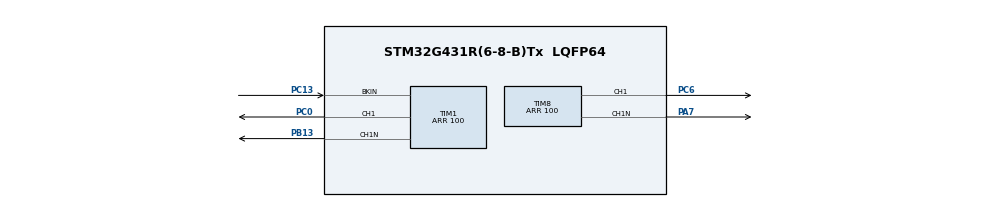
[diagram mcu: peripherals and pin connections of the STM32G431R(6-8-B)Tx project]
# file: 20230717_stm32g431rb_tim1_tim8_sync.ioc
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Mcu.Family=STM32G4
Mcu.Name=STM32G431R(6-8-B)Tx
Mcu.Package=LQFP64
NVIC.PriorityGroup=NVIC_PRIORITYGROUP_4
PA13.Mode=Serial_Wire
PA13.Signal=SYS_JTMS-SWDIO
PA14.Mode=Serial_Wire
PA14.Signal=SYS_JTCK-SWCLK
PA7.Mode=PWM Generation1 CH1 CH1N
PA7.Signal=TIM8_CH1N
PB13.Mode=PWM Generation1 CH1 CH1N
PB13.Signal=TIM1_CH1N
PC0.Signal=S_TIM1_CH1
PC13.Mode=Activate-Break-Input
PC13.Signal=TIM1_BKIN
PC6.Signal=S_TIM8_CH1
ProjectManager.HeapSize=0x200
ProjectManager.StackSize=0x400
ProjectManager.TargetToolchain=STM32CubeIDE
RCC.ADC12Freq_Value=170000000
RCC.AHBFreq_Value=170000000
RCC.APB1Freq_Value=170000000
RCC.APB1TimFreq_Value=170000000
RCC.APB2Freq_Value=170000000
RCC.APB2TimFreq_Value=170000000
RCC.CortexFreq_Value=170000000
RCC.EXTERNAL_CLOCK_VALUE=12288000
RCC.HCLKFreq_Value=170000000
RCC.HSE_VALUE=8000000
RCC.HSI48_VALUE=48000000
RCC.HSI_VALUE=16000000
RCC.LSE_VALUE=32768
RCC.PLLM=RCC_PLLM_DIV4
RCC.PLLN=85
RCC.PWR_Regulator_Voltage_Scale=PWR_REGULATOR_VOLTAGE_SCALE1_BOOST
RCC.SYSCLKFreq_VALUE=170000000
RCC.SYSCLKSource=RCC_SYSCLKSOURCE_PLLCLK
RCC.USBFreq_Value=170000000
RCC.VCOOutputFreq_Value=340000000
SH.S_TIM1_CH1.0=TIM1_CH1,PWM Generation1 CH1 CH1N
SH.S_TIM8_CH1.0=TIM8_CH1,PWM Generation1 CH1 CH1N
TIM1.Channel-PWM\ Generation1\ CH1\ CH1N=TIM_CHANNEL_1
TIM1.PeriodNoDither=100
TIM1.PulseNoDither_1=50
TIM1.TIM_MasterOutputTrigger=TIM_TRGO_ENABLE
TIM1.TIM_MasterSlaveMode=TIM_MASTERSLAVEMODE_ENABLE
TIM8.Channel-PWM\ Generation1\ CH1\ CH1N=TIM_CHANNEL_1
TIM8.PeriodNoDither=100
TIM8.PulseNoDither_1=50
VP_SYS_VS_DBSignals.Mode=DisableDeadBatterySignals
VP_TIM8_VS_ClockSourceITR.Mode=TriggerSource_ITR0
VP_TIM8_VS_ControllerModeTrigger.Mode=Trigger Mode
board=custom

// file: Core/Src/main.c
/* USER CODE BEGIN Header */
/**
  ******************************************************************************
  * @file           : main.c
  * @brief          : Main program body
  ******************************************************************************
  * @attention
  *
  * Copyright (c) 2023 STMicroelectronics.
  * All rights reserved.
  *
  * This software is licensed under terms that can be found in the LICENSE file
  * in the root directory of this software component.
  * If no LICENSE file comes with this software, it is provided AS-IS.
  *
  ******************************************************************************
  */
/* USER CODE END Header */
#include "main.h"

void SystemClock_Config(void);
static void MX_GPIO_Init(void);
static void MX_TIM1_Init(void);
static void MX_TIM8_Init(void);

int main(void)
{

  /* MCU Configuration--------------------------------------------------------*/

  /* Reset of all peripherals, Initializes the Flash interface and the Systick. */
  LL_APB2_GRP1_EnableClock(LL_APB2_GRP1_PERIPH_SYSCFG);
  LL_APB1_GRP1_EnableClock(LL_APB1_GRP1_PERIPH_PWR);

  /* System interrupt init*/
  NVIC_SetPriorityGrouping(NVIC_PRIORITYGROUP_4);

  /* SysTick_IRQn interrupt configuration */
  NVIC_SetPriority(SysTick_IRQn, NVIC_EncodePriority(NVIC_GetPriorityGrouping(),15, 0));

  /** Disable the internal Pull-Up in Dead Battery pins of UCPD peripheral
  */
  LL_PWR_DisableUCPDDeadBattery();

  /* Configure the system clock */
  SystemClock_Config();

  /* Initialize all configured peripherals */
  MX_GPIO_Init();
  MX_TIM1_Init();
  MX_TIM8_Init();
  /* USER CODE BEGIN 2 */
  LL_TIM_CC_EnableChannel(TIM8, LL_TIM_CHANNEL_CH1);
  LL_TIM_CC_EnableChannel(TIM8, LL_TIM_CHANNEL_CH1N);
  LL_TIM_EnableAllOutputs(TIM8);
  LL_TIM_ClearFlag_UPDATE(TIM8);
  LL_TIM_SetCounter(TIM8, 0);

  LL_TIM_CC_EnableChannel(TIM1, LL_TIM_CHANNEL_CH1);
  LL_TIM_CC_EnableChannel(TIM1, LL_TIM_CHANNEL_CH1N);
  LL_TIM_EnableAllOutputs(TIM1);
  LL_TIM_ClearFlag_UPDATE(TIM1);
  LL_TIM_SetCounter(TIM1, 0);

  LL_TIM_EnableCounter(TIM1);
  /* USER CODE END 2 */

  /* Infinite loop */
  /* USER CODE BEGIN WHILE */
  while (1)
  {
    LL_TIM_DisableCounter(TIM8);
    LL_TIM_DisableCounter(TIM1);
    LL_mDelay(100);

    LL_TIM_SetCounter(TIM8, 0);
    LL_TIM_SetCounter(TIM1, 0);

    LL_TIM_EnableCounter(TIM1);
    LL_mDelay(100);
    /* USER CODE END WHILE */

  }
}

void SystemClock_Config(void)
{
  LL_FLASH_SetLatency(LL_FLASH_LATENCY_4);
  while(LL_FLASH_GetLatency() != LL_FLASH_LATENCY_4)
  {
  }
  LL_PWR_EnableRange1BoostMode();
  LL_RCC_HSI_Enable();
   /* Wait till HSI is ready */
  while(LL_RCC_HSI_IsReady() != 1)
  {
  }

  LL_RCC_HSI_SetCalibTrimming(64);
  LL_RCC_PLL_ConfigDomain_SYS(LL_RCC_PLLSOURCE_HSI, LL_RCC_PLLM_DIV_4, 85, LL_RCC_PLLR_DIV_2);
  LL_RCC_PLL_EnableDomain_SYS();
  LL_RCC_PLL_Enable();
   /* Wait till PLL is ready */
  while(LL_RCC_PLL_IsReady() != 1)
  {
  }

  LL_RCC_SetSysClkSource(LL_RCC_SYS_CLKSOURCE_PLL);
  LL_RCC_SetAHBPrescaler(LL_RCC_SYSCLK_DIV_2);
   /* Wait till System clock is ready */
  while(LL_RCC_GetSysClkSource() != LL_RCC_SYS_CLKSOURCE_STATUS_PLL)
  {
  }

  /* Insure 1�s transition state at intermediate medium speed clock*/
  for (__IO uint32_t i = (170 >> 1); i !=0; i--);

  /* Set AHB prescaler*/
  LL_RCC_SetAHBPrescaler(LL_RCC_SYSCLK_DIV_1);
  LL_RCC_SetAPB1Prescaler(LL_RCC_APB1_DIV_1);
  LL_RCC_SetAPB2Prescaler(LL_RCC_APB2_DIV_1);

  LL_Init1msTick(170000000);

  LL_SetSystemCoreClock(170000000);
}

static void MX_TIM1_Init(void)
{

  LL_TIM_InitTypeDef TIM_InitStruct = {0};
  LL_TIM_OC_InitTypeDef TIM_OC_InitStruct = {0};
  LL_TIM_BDTR_InitTypeDef TIM_BDTRInitStruct = {0};

  LL_GPIO_InitTypeDef GPIO_InitStruct = {0};

  /* Peripheral clock enable */
  LL_APB2_GRP1_EnableClock(LL_APB2_GRP1_PERIPH_TIM1);

  LL_AHB2_GRP1_EnableClock(LL_AHB2_GRP1_PERIPH_GPIOC);
  /**TIM1 GPIO Configuration
  PC13   ------> TIM1_BKIN
  */
  GPIO_InitStruct.Pin = LL_GPIO_PIN_13;
  GPIO_InitStruct.Mode = LL_GPIO_MODE_ALTERNATE;
  GPIO_InitStruct.Speed = LL_GPIO_SPEED_FREQ_LOW;
  GPIO_InitStruct.OutputType = LL_GPIO_OUTPUT_OPENDRAIN;
  GPIO_InitStruct.Pull = LL_GPIO_PULL_NO;
  GPIO_InitStruct.Alternate = LL_GPIO_AF_2;
  LL_GPIO_Init(GPIOC, &GPIO_InitStruct);

  TIM_InitStruct.Prescaler = 0;
  TIM_InitStruct.CounterMode = LL_TIM_COUNTERMODE_UP;
  TIM_InitStruct.Autoreload = 100;
  TIM_InitStruct.ClockDivision = LL_TIM_CLOCKDIVISION_DIV1;
  TIM_InitStruct.RepetitionCounter = 0;
  LL_TIM_Init(TIM1, &TIM_InitStruct);
  LL_TIM_DisableARRPreload(TIM1);
  LL_TIM_OC_EnablePreload(TIM1, LL_TIM_CHANNEL_CH1);
  TIM_OC_InitStruct.OCMode = LL_TIM_OCMODE_PWM1;
  TIM_OC_InitStruct.OCState = LL_TIM_OCSTATE_DISABLE;
  TIM_OC_InitStruct.OCNState = LL_TIM_OCSTATE_DISABLE;
  TIM_OC_InitStruct.CompareValue = 50;
  TIM_OC_InitStruct.OCPolarity = LL_TIM_OCPOLARITY_HIGH;
  TIM_OC_InitStruct.OCNPolarity = LL_TIM_OCPOLARITY_HIGH;
  TIM_OC_InitStruct.OCIdleState = LL_TIM_OCIDLESTATE_LOW;
  TIM_OC_InitStruct.OCNIdleState = LL_TIM_OCIDLESTATE_LOW;
  LL_TIM_OC_Init(TIM1, LL_TIM_CHANNEL_CH1, &TIM_OC_InitStruct);
  LL_TIM_OC_DisableFast(TIM1, LL_TIM_CHANNEL_CH1);
  LL_TIM_SetTriggerOutput(TIM1, LL_TIM_TRGO_ENABLE);
  LL_TIM_SetTriggerOutput2(TIM1, LL_TIM_TRGO2_RESET);
  LL_TIM_EnableMasterSlaveMode(TIM1);
  LL_TIM_SetBreakInputSourcePolarity(TIM1, LL_TIM_BREAK_INPUT_BKIN, LL_TIM_BKIN_SOURCE_BKIN, LL_TIM_BKIN_POLARITY_HIGH);
  TIM_BDTRInitStruct.OSSRState = LL_TIM_OSSR_DISABLE;
  TIM_BDTRInitStruct.OSSIState = LL_TIM_OSSI_DISABLE;
  TIM_BDTRInitStruct.LockLevel = LL_TIM_LOCKLEVEL_OFF;
  TIM_BDTRInitStruct.DeadTime = 0;
  TIM_BDTRInitStruct.BreakState = LL_TIM_BREAK_ENABLE;
  TIM_BDTRInitStruct.BreakPolarity = LL_TIM_BREAK_POLARITY_HIGH;
  TIM_BDTRInitStruct.BreakFilter = LL_TIM_BREAK_FILTER_FDIV1;
  TIM_BDTRInitStruct.BreakAFMode = LL_TIM_BREAK_AFMODE_INPUT;
  TIM_BDTRInitStruct.Break2State = LL_TIM_BREAK2_DISABLE;
  TIM_BDTRInitStruct.Break2Polarity = LL_TIM_BREAK2_POLARITY_HIGH;
  TIM_BDTRInitStruct.Break2Filter = LL_TIM_BREAK2_FILTER_FDIV1;
  TIM_BDTRInitStruct.Break2AFMode = LL_TIM_BREAK_AFMODE_INPUT;
  TIM_BDTRInitStruct.AutomaticOutput = LL_TIM_AUTOMATICOUTPUT_DISABLE;
  LL_TIM_BDTR_Init(TIM1, &TIM_BDTRInitStruct);
  LL_AHB2_GRP1_EnableClock(LL_AHB2_GRP1_PERIPH_GPIOC);
  LL_AHB2_GRP1_EnableClock(LL_AHB2_GRP1_PERIPH_GPIOB);
  /**TIM1 GPIO Configuration
  PC0   ------> TIM1_CH1
  PB13   ------> TIM1_CH1N
  */
  GPIO_InitStruct.Pin = LL_GPIO_PIN_0;
  GPIO_InitStruct.Mode = LL_GPIO_MODE_ALTERNATE;
  GPIO_InitStruct.Speed = LL_GPIO_SPEED_FREQ_LOW;
  GPIO_InitStruct.OutputType = LL_GPIO_OUTPUT_PUSHPULL;
  GPIO_InitStruct.Pull = LL_GPIO_PULL_NO;
  GPIO_InitStruct.Alternate = LL_GPIO_AF_2;
  LL_GPIO_Init(GPIOC, &GPIO_InitStruct);

  GPIO_InitStruct.Pin = LL_GPIO_PIN_13;
  GPIO_InitStruct.Mode = LL_GPIO_MODE_ALTERNATE;
  GPIO_InitStruct.Speed = LL_GPIO_SPEED_FREQ_LOW;
  GPIO_InitStruct.OutputType = LL_GPIO_OUTPUT_PUSHPULL;
  GPIO_InitStruct.Pull = LL_GPIO_PULL_NO;
  GPIO_InitStruct.Alternate = LL_GPIO_AF_6;
  LL_GPIO_Init(GPIOB, &GPIO_InitStruct);

}

static void MX_TIM8_Init(void)
{

  LL_TIM_InitTypeDef TIM_InitStruct = {0};
  LL_TIM_OC_InitTypeDef TIM_OC_InitStruct = {0};
  LL_TIM_BDTR_InitTypeDef TIM_BDTRInitStruct = {0};

  LL_GPIO_InitTypeDef GPIO_InitStruct = {0};

  /* Peripheral clock enable */
  LL_APB2_GRP1_EnableClock(LL_APB2_GRP1_PERIPH_TIM8);

  TIM_InitStruct.Prescaler = 0;
  TIM_InitStruct.CounterMode = LL_TIM_COUNTERMODE_UP;
  TIM_InitStruct.Autoreload = 100;
  TIM_InitStruct.ClockDivision = LL_TIM_CLOCKDIVISION_DIV1;
  TIM_InitStruct.RepetitionCounter = 0;
  LL_TIM_Init(TIM8, &TIM_InitStruct);
  LL_TIM_DisableARRPreload(TIM8);
  LL_TIM_OC_EnablePreload(TIM8, LL_TIM_CHANNEL_CH1);
  TIM_OC_InitStruct.OCMode = LL_TIM_OCMODE_PWM1;
  TIM_OC_InitStruct.OCState = LL_TIM_OCSTATE_DISABLE;
  TIM_OC_InitStruct.OCNState = LL_TIM_OCSTATE_DISABLE;
  TIM_OC_InitStruct.CompareValue = 50;
  TIM_OC_InitStruct.OCPolarity = LL_TIM_OCPOLARITY_HIGH;
  TIM_OC_InitStruct.OCNPolarity = LL_TIM_OCPOLARITY_HIGH;
  TIM_OC_InitStruct.OCIdleState = LL_TIM_OCIDLESTATE_LOW;
  TIM_OC_InitStruct.OCNIdleState = LL_TIM_OCIDLESTATE_LOW;
  LL_TIM_OC_Init(TIM8, LL_TIM_CHANNEL_CH1, &TIM_OC_InitStruct);
  LL_TIM_OC_DisableFast(TIM8, LL_TIM_CHANNEL_CH1);
  LL_TIM_SetTriggerInput(TIM8, LL_TIM_TS_ITR0);
  LL_TIM_SetSlaveMode(TIM8, LL_TIM_SLAVEMODE_TRIGGER);
  LL_TIM_DisableIT_TRIG(TIM8);
  LL_TIM_DisableDMAReq_TRIG(TIM8);
  LL_TIM_SetTriggerOutput(TIM8, LL_TIM_TRGO_RESET);
  LL_TIM_SetTriggerOutput2(TIM8, LL_TIM_TRGO2_RESET);
  LL_TIM_DisableMasterSlaveMode(TIM8);
  TIM_BDTRInitStruct.OSSRState = LL_TIM_OSSR_DISABLE;
  TIM_BDTRInitStruct.OSSIState = LL_TIM_OSSI_DISABLE;
  TIM_BDTRInitStruct.LockLevel = LL_TIM_LOCKLEVEL_OFF;
  TIM_BDTRInitStruct.DeadTime = 0;
  TIM_BDTRInitStruct.BreakState = LL_TIM_BREAK_DISABLE;
  TIM_BDTRInitStruct.BreakPolarity = LL_TIM_BREAK_POLARITY_HIGH;
  TIM_BDTRInitStruct.BreakFilter = LL_TIM_BREAK_FILTER_FDIV1;
  TIM_BDTRInitStruct.BreakAFMode = LL_TIM_BREAK_AFMODE_INPUT;
  TIM_BDTRInitStruct.Break2State = LL_TIM_BREAK2_DISABLE;
  TIM_BDTRInitStruct.Break2Polarity = LL_TIM_BREAK2_POLARITY_HIGH;
  TIM_BDTRInitStruct.Break2Filter = LL_TIM_BREAK2_FILTER_FDIV1;
  TIM_BDTRInitStruct.Break2AFMode = LL_TIM_BREAK_AFMODE_INPUT;
  TIM_BDTRInitStruct.AutomaticOutput = LL_TIM_AUTOMATICOUTPUT_DISABLE;
  LL_TIM_BDTR_Init(TIM8, &TIM_BDTRInitStruct);
  LL_AHB2_GRP1_EnableClock(LL_AHB2_GRP1_PERIPH_GPIOA);
  LL_AHB2_GRP1_EnableClock(LL_AHB2_GRP1_PERIPH_GPIOC);
  /**TIM8 GPIO Configuration
  PA7   ------> TIM8_CH1N
  PC6   ------> TIM8_CH1
  */
  GPIO_InitStruct.Pin = LL_GPIO_PIN_7;
  GPIO_InitStruct.Mode = LL_GPIO_MODE_ALTERNATE;
  GPIO_InitStruct.Speed = LL_GPIO_SPEED_FREQ_LOW;
  GPIO_InitStruct.OutputType = LL_GPIO_OUTPUT_PUSHPULL;
  GPIO_InitStruct.Pull = LL_GPIO_PULL_NO;
  GPIO_InitStruct.Alternate = LL_GPIO_AF_4;
  LL_GPIO_Init(GPIOA, &GPIO_InitStruct);

  GPIO_InitStruct.Pin = LL_GPIO_PIN_6;
  GPIO_InitStruct.Mode = LL_GPIO_MODE_ALTERNATE;
  GPIO_InitStruct.Speed = LL_GPIO_SPEED_FREQ_LOW;
  GPIO_InitStruct.OutputType = LL_GPIO_OUTPUT_PUSHPULL;
  GPIO_InitStruct.Pull = LL_GPIO_PULL_NO;
  GPIO_InitStruct.Alternate = LL_GPIO_AF_4;
  LL_GPIO_Init(GPIOC, &GPIO_InitStruct);

}

static void MX_GPIO_Init(void)
{

  /* GPIO Ports Clock Enable */
  LL_AHB2_GRP1_EnableClock(LL_AHB2_GRP1_PERIPH_GPIOC);
  LL_AHB2_GRP1_EnableClock(LL_AHB2_GRP1_PERIPH_GPIOA);
  LL_AHB2_GRP1_EnableClock(LL_AHB2_GRP1_PERIPH_GPIOB);

}

void Error_Handler(void)
{
  __disable_irq();
  while (1)
  {
  }
}
